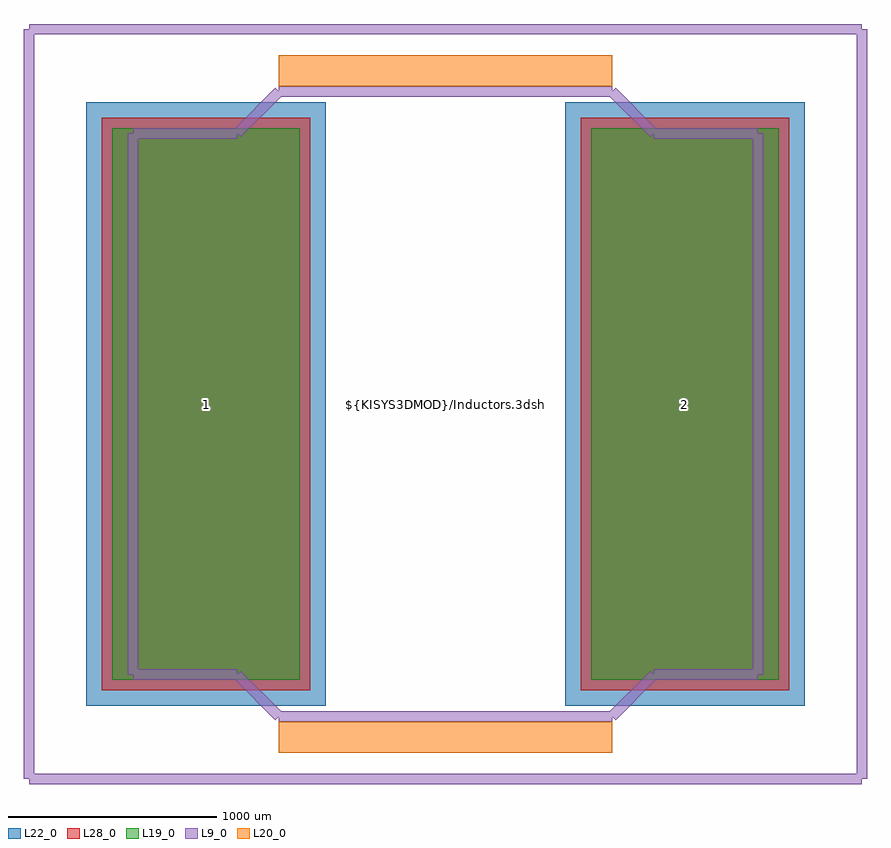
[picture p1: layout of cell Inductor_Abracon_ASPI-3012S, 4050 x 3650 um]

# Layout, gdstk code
import gdstk
lib = gdstk.Library(unit=1e-6, precision=1e-09)
def R(c, l, rs):  # rectangles x0, y0, x1, y1
    for r in rs: c.add(gdstk.rectangle(r[:2], r[2:], *l))
L9_0 = (9, 0)
L19_0 = (19, 0)
L20_0 = (20, 0)
L22_0 = (22, 0)
L28_0 = (28, 0)

inductor_abracon_aspi_30 = lib.new_cell('Inductor_Abracon_ASPI-3012S')
R(inductor_abracon_aspi_30, L19_0, [(-1600,-1325,-700,1325), (700,-1325,1600,1325)])
R(inductor_abracon_aspi_30, L22_0, [(-1725,-1450,-575,1450), (575,-1450,1725,1450)])
R(inductor_abracon_aspi_30, L28_0, [(-1650,-1375,-650,1375), (650,-1375,1650,1375)])
inductor_abracon_aspi_30.add(gdstk.FlexPath([(-800,1600),(800,1600)], 149.998, ends="flush", simple_path=True, layer=20, datatype=0))  # L20_0
inductor_abracon_aspi_30.add(gdstk.FlexPath([(-800,-1600),(800,-1600)], 149.998, ends="flush", simple_path=True, layer=20, datatype=0))  # L20_0
inductor_abracon_aspi_30.add(gdstk.FlexPath([(-800,-1500),(800,-1500)], 50, ends="flush", simple_path=True, layer=9, datatype=0))  # L9_0
inductor_abracon_aspi_30.add(gdstk.FlexPath([(800,-1500),(1000,-1300)], 50, ends="flush", simple_path=True, layer=9, datatype=0))  # L9_0
inductor_abracon_aspi_30.add(gdstk.FlexPath([(1000,-1300),(1500,-1300)], 50, ends="flush", simple_path=True, layer=9, datatype=0))  # L9_0
inductor_abracon_aspi_30.add(gdstk.FlexPath([(1500,-1300),(1500,1300)], 50, ends="flush", simple_path=True, layer=9, datatype=0))  # L9_0
inductor_abracon_aspi_30.add(gdstk.FlexPath([(1500,1300),(1000,1300)], 50, ends="flush", simple_path=True, layer=9, datatype=0))  # L9_0
inductor_abracon_aspi_30.add(gdstk.FlexPath([(1000,1300),(800,1500)], 50, ends="flush", simple_path=True, layer=9, datatype=0))  # L9_0
inductor_abracon_aspi_30.add(gdstk.FlexPath([(800,1500),(-800,1500)], 50, ends="flush", simple_path=True, layer=9, datatype=0))  # L9_0
inductor_abracon_aspi_30.add(gdstk.FlexPath([(-800,1500),(-1000,1300)], 50, ends="flush", simple_path=True, layer=9, datatype=0))  # L9_0
inductor_abracon_aspi_30.add(gdstk.FlexPath([(-1000,1300),(-1500,1300)], 50, ends="flush", simple_path=True, layer=9, datatype=0))  # L9_0
inductor_abracon_aspi_30.add(gdstk.FlexPath([(-1500,1300),(-1500,-1300)], 50, ends="flush", simple_path=True, layer=9, datatype=0))  # L9_0
inductor_abracon_aspi_30.add(gdstk.FlexPath([(-1500,-1300),(-1000,-1300)], 50, ends="flush", simple_path=True, layer=9, datatype=0))  # L9_0
inductor_abracon_aspi_30.add(gdstk.FlexPath([(-1000,-1300),(-800,-1500)], 50, ends="flush", simple_path=True, layer=9, datatype=0))  # L9_0
inductor_abracon_aspi_30.add(gdstk.FlexPath([(2000,1800),(-2000,1800)], 50, ends="flush", simple_path=True, layer=9, datatype=0))  # L9_0
inductor_abracon_aspi_30.add(gdstk.FlexPath([(-2000,1800),(-2000,-1800)], 50, ends="flush", simple_path=True, layer=9, datatype=0))  # L9_0
inductor_abracon_aspi_30.add(gdstk.FlexPath([(-2000,-1800),(2000,-1800)], 50, ends="flush", simple_path=True, layer=9, datatype=0))  # L9_0
inductor_abracon_aspi_30.add(gdstk.FlexPath([(2000,-1800),(2000,1800)], 50, ends="flush", simple_path=True, layer=9, datatype=0))  # L9_0
inductor_abracon_aspi_30.add(gdstk.Label('${KISYS3DMOD}/Inductors.3dshapes/Inductor_Abracon_ASPI-3012S.wrl', (0,0), layer=12, texttype=0))
inductor_abracon_aspi_30.add(gdstk.Label('2', (1150,0), layer=28, texttype=0))
inductor_abracon_aspi_30.add(gdstk.Label('1', (-1150,0), layer=28, texttype=0))
inductor_abracon_aspi_30.add(gdstk.Label('type', (0,2700), layer=9, texttype=0))
inductor_abracon_aspi_30.add(gdstk.Label('devicename', (0,-2600), layer=9, texttype=0))

lib.write_gds('Inductor_Abracon_ASPI-3012S.gds')
